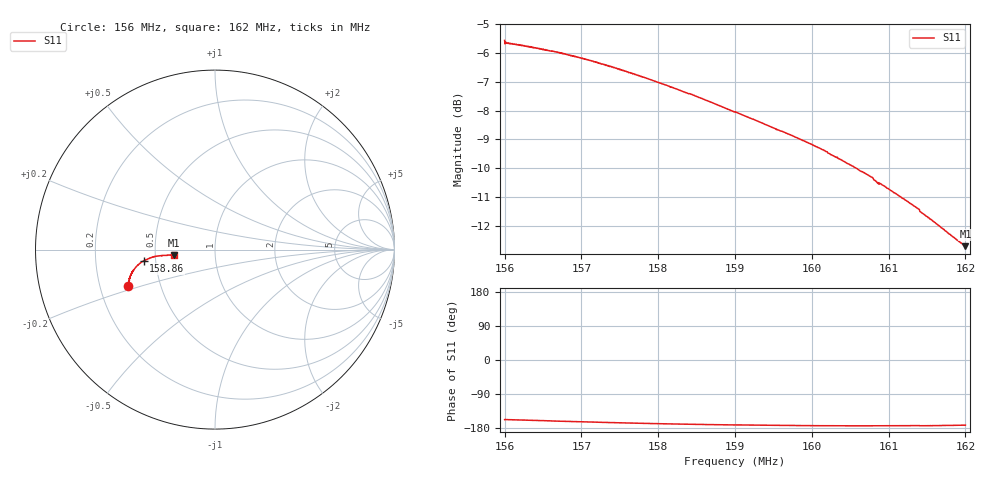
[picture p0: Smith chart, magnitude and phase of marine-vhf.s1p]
! Calibrated averaged scanner-service zoom
# Hz S RI R 50
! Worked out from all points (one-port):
!   1001 points, 156 MHz to 162 MHz, reference 50 ohm
!   lowest |S11| = -12.7 dB at 162 MHz (marker M1), VSWR 1.60, Z = 31.3 - j2.16 ohm
!   |S11| at or under -10 dB: 160.58 MHz to end of sweep
!   S11 on the Smith chart (normalised r, x): 156 MHz: 0.32, -0.18; 158.86 MHz: 0.43, -0.06; 162 MHz: 0.63, -0.04
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1.56e8  -0.4862 -0.2039
1.56036e8  -0.481 -0.2011
1.56276e8  -0.4807 -0.1865
1.56558e8  -0.4776 -0.1701
1.56636e8  -0.4774 -0.1644
1.5675e8  -0.4756 -0.1578
1.57116e8  -0.467 -0.1367
1.57248e8  -0.4634 -0.1289
1.575e8  -0.4555 -0.1156
1.5783e8  -0.4431 -0.0996
1.5825e8  -0.4256 -0.0827
1.58442e8  -0.4175 -0.0763
1.58856e8  -0.3981 -0.0632
1.59e8  -0.3912 -0.0594
1.59036e8  -0.39 -0.0597
1.5975e8  -0.3572 -0.0451
1.6017e8  -0.3371 -0.0386
1.60242e8  -0.3322 -0.0383
1.605e8  -0.3183 -0.0356
1.6077e8  -0.3036 -0.0339
1.60848e8  -0.2971 -0.0334
1.60926e8  -0.2936 -0.033
1.6125e8  -0.2749 -0.032
1.6137e8  -0.2676 -0.0327
1.61436e8  -0.2625 -0.0301
1.6158e8  -0.2538 -0.0306
1.61964e8  -0.2308 -0.0322
1.62e8  -0.2291 -0.0326
